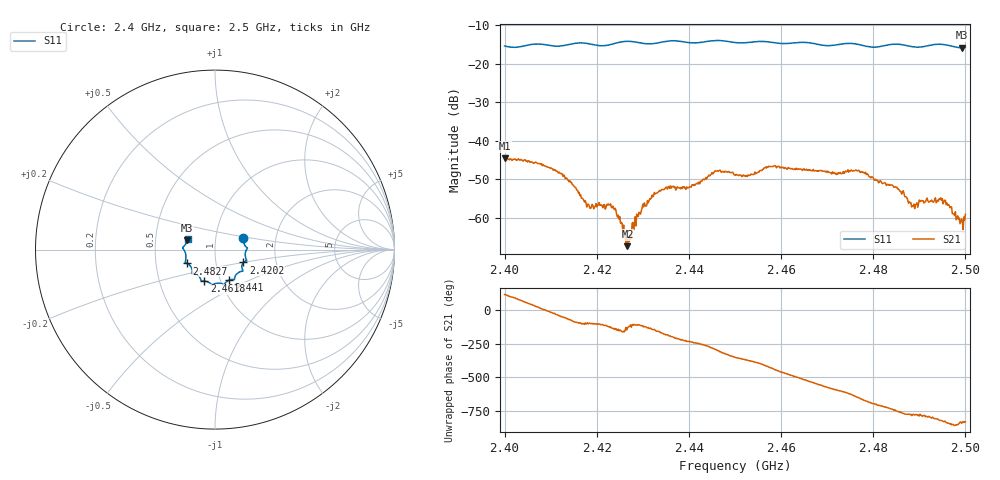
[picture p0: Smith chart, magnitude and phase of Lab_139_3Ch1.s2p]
# Hz S RI R 50
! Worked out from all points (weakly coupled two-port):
!   601 points, 2.4 GHz to 2.5 GHz, reference 50 ohm
!   highest |S21| = -44.59 dB at 2.4 GHz (marker M1); lowest = -67.5 dB at 2.4267 GHz (marker M2)
!   lowest |S11| = -15.8 dB at 2.4993 GHz (marker M3), VSWR 1.39, Z = 36.5 + j3.83 ohm
!   |S11| at or under -10 dB: start of sweep to end of sweep
!   S12 and S22 are empty: the file has one direction only
!   S11 on the Smith chart (normalised r, x): 2.4 GHz: 1.36, +0.18; 2.4202 GHz: 1.36, -0.20; 2.441 GHz: 1.10, -0.39; 2.4618 GHz: 0.84, -0.30; 2.4827 GHz: 0.72, -0.11; 2.5 GHz: 0.73, +0.09
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2.4e9  0.1586 0.0629  -0.00276 0.00521  0 0  0 0
2.4105e9  0.1708 -0.0109  0.00385 -0.00154  0 0  0 0
2.414e9  0.1721 -0.0493  0.00108 -0.00271  0 0  0 0
2.416667e9  0.1771 -0.061  -0.000308 -0.00176  0 0  0 0
2.418333e9  0.1711 -0.0635  -0.000156 -0.00143  0 0  0 0
2.420167e9  0.1584 -0.0713  -0.000388 -0.00141  0 0  0 0
2.4235e9  0.1501 -0.1022  -0.000975 -0.00102  0 0  0 0
2.426667e9  0.1565 -0.119  -0.00028 -0.000318  0 0  0 0
2.429833e9  0.138 -0.1237  -0.000572 -0.00119  0 0  0 0
2.433333e9  0.1113 -0.1509  -0.00194 -0.000904  0 0  0 0
2.441e9  0.0788 -0.1696  -0.00123 0.0023  0 0  0 0
2.446167e9  0.0495 -0.1954  0.00198 0.00353  0 0  0 0
2.45e9  0.0283 -0.1874  0.00353 0.000611  0 0  0 0
2.461833e9  -0.0593 -0.1754  -0.00224 -0.00373  0 0  0 0
2.466667e9  -0.0788 -0.1684  -0.00409 -0.000235  0 0  0 0
2.4765e9  -0.1274 -0.1275  0.00129 0.00383  0 0  0 0
2.482667e9  -0.1559 -0.0771  0.00281 -0.000153  0 0  0 0
2.483333e9  -0.1603 -0.0752  0.00261 -0.000397  0 0  0 0
2.488833e9  -0.1613 -0.0392  0.00078 -0.00127  0 0  0 0
2.495167e9  -0.1782 0.0133  -0.000444 -0.00144  0 0  0 0
2.499333e9  -0.154 0.0511  -0.000392 -0.000811  0 0  0 0
2.5e9  -0.1521 0.0606  -0.000425 -0.00101  0 0  0 0
